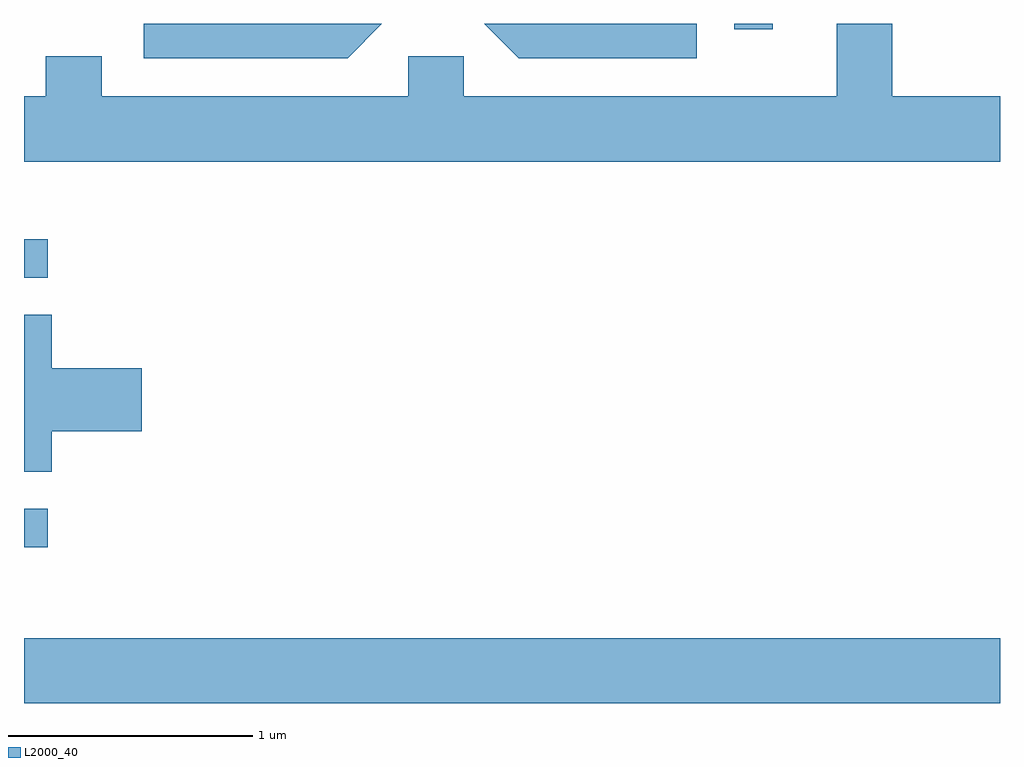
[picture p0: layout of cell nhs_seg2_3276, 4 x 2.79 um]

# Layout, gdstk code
import gdstk
lib = gdstk.Library(unit=1e-6, precision=1e-09)
def R(c, l, rs):  # rectangles x0, y0, x1, y1
    for r in rs: c.add(gdstk.rectangle(r[:2], r[2:], *l))
def P(c, l, *ps):  # polygons
    for p in ps: c.add(gdstk.Polygon(p, *l))
L2000_40 = (2000, 40)

nhs_seg2_3276 = lib.new_cell('nhs_seg2_3276')
R(nhs_seg2_3276, L2000_40, [(281.611,1015.016,285.611,1015.284), (281.611,1015.656,281.708,1015.814), (281.611,1016.761,281.708,1016.919), (284.521,1017.778,284.679,1017.802)])
P(nhs_seg2_3276, L2000_40, [(285.611,1017.504),(285.169,1017.504),(285.169,1017.802),(284.941,1017.802),(284.941,1017.504),(283.414,1017.504),(283.414,1017.669),(283.186,1017.669),(283.186,1017.504),(281.929,1017.504),(281.929,1017.669),(281.701,1017.669),(281.701,1017.504),(281.611,1017.504),(281.611,1017.236),(285.611,1017.236)],
  [(283.078,1017.802),(282.101,1017.802),(282.101,1017.661),(282.937,1017.661)],
  [(284.369,1017.802),(283.498,1017.802),(283.639,1017.661),(284.369,1017.661)],
  [(281.724,1016.131),(282.094,1016.131),(282.094,1016.389),(281.724,1016.389),(281.724,1016.609),(281.611,1016.609),(281.611,1015.966),(281.724,1015.966)])

lib.write_gds('nhs_seg2_3276.gds')
